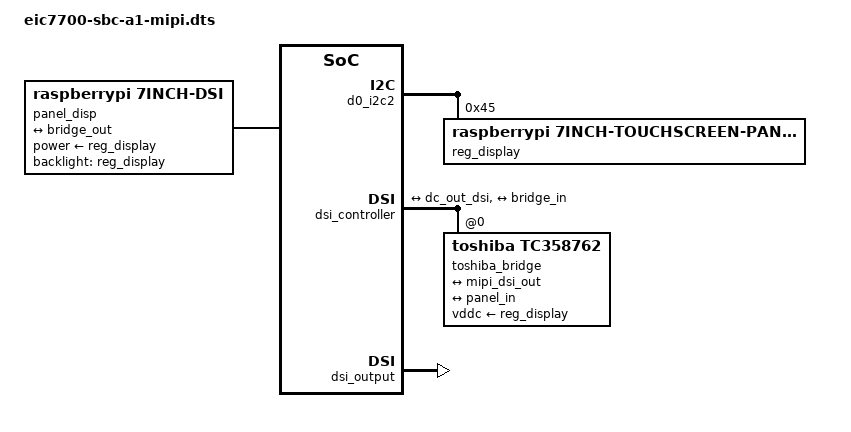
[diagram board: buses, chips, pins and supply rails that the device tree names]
/* SPDX-License-Identifier: GPL-2.0 */
/*
 * Copyright 2026, Beijing ESWIN Computing Technology Co., Ltd.. All rights reserved.
 *
 */

/dts-v1/;
/plugin/;

#include <dt-bindings/gpio/gpio.h>
/ {
	fragment@0 {
		target =  <&dc_out>;
		__overlay__ {
			dc_out_dsi: endpoint@0 {
				reg = <0>;
				remote-endpoint = <&dsi_input>;
			};
		};
	};

	fragment@1 {
		target =  <&video_output>;
		__overlay__ {
			power-supply = <&reg_display>;
		};
	};

	fragment@2 {
		target =  <&SOC>;
		__overlay__ {
			panel_disp:panel_disp {
				compatible = "raspberrypi,7inch-dsi";
				status = "okay";
				backlight = <&reg_display>;
				power-supply = <&reg_display>;
				port {
					panel_in: endpoint {
						remote-endpoint = <&bridge_out>;
					};
				};
			};
		};
	};

	fragment@3 {
		target =  <&d0_i2c2>;
		__overlay__ {
			status = "okay";
			reg_display: regulator@45 {
				compatible = "raspberrypi,7inch-touchscreen-panel-regulator";
				reg = <0x45>;
				gpio-controller;
				#gpio-cells = <2>;
			};
		};
	};

    fragment@4 {
		target =  <&dsi_controller>;
		__overlay__ {
			status = "okay";
			dependencies = <&panel_disp>;
			pinctrl-names = "default";
			pinctrl-0 = <&pinctrl_gpio28_default>;
			dsi-mux-gpio = <&porta 28 GPIO_ACTIVE_HIGH>;
			ports {
				#address-cells = <1>;
				#size-cells = <0>;
				port@0 {
					#address-cells = <1>;
					#size-cells = <0>;
					reg = <0>;
					dsi_input: endpoint {
						remote-endpoint = <&dc_out_dsi>;
					};
				};

				port@1 {
					#address-cells = <1>;
					#size-cells = <0>;
					reg = <1>;
					mipi_dsi_out: endpoint {
						remote-endpoint = <&bridge_in>;
					};
				};
			};

			toshiba_bridge: bridge@0 {
				reg = <0>;
				compatible = "toshiba,tc358762";
				status = "okay";
				vddc-supply = <&reg_display>;
				ports {
					#address-cells = <1>;
					#size-cells = <0>;

					port@0 {
						reg = <0>;
						bridge_in: endpoint {
							remote-endpoint = <&mipi_dsi_out>;
						};
					};

					port@1 {
						reg = <1>;
						bridge_out: endpoint {
							remote-endpoint = <&panel_in>;
						};
					};
				};
			};
		};
	};

	fragment@5{
		target =  <&hdmi_in_dc>;
		__overlay__ {
			status = "disabled";
		};
	};

	fragment@6{
		target =  <&hdmi_in_i2s>;
		__overlay__ {
			status = "disabled";
		};
	};


	fragment@7{
		target =  <&dc_out_hdmi>;
		__overlay__ {
			status = "disabled";
		};
	};

	fragment@8{
		target =  <&d0_i2s0_endpoint>;
		__overlay__ {
			status = "disabled";
		};
	};

	fragment@9{
		target =  <&dw_hdmi>;
		__overlay__ {
			status = "disabled";
		};
	};

	fragment@10{
		target =  <&dsi_output>;
		__overlay__ {
			status = "okay";
		};
	};
};
